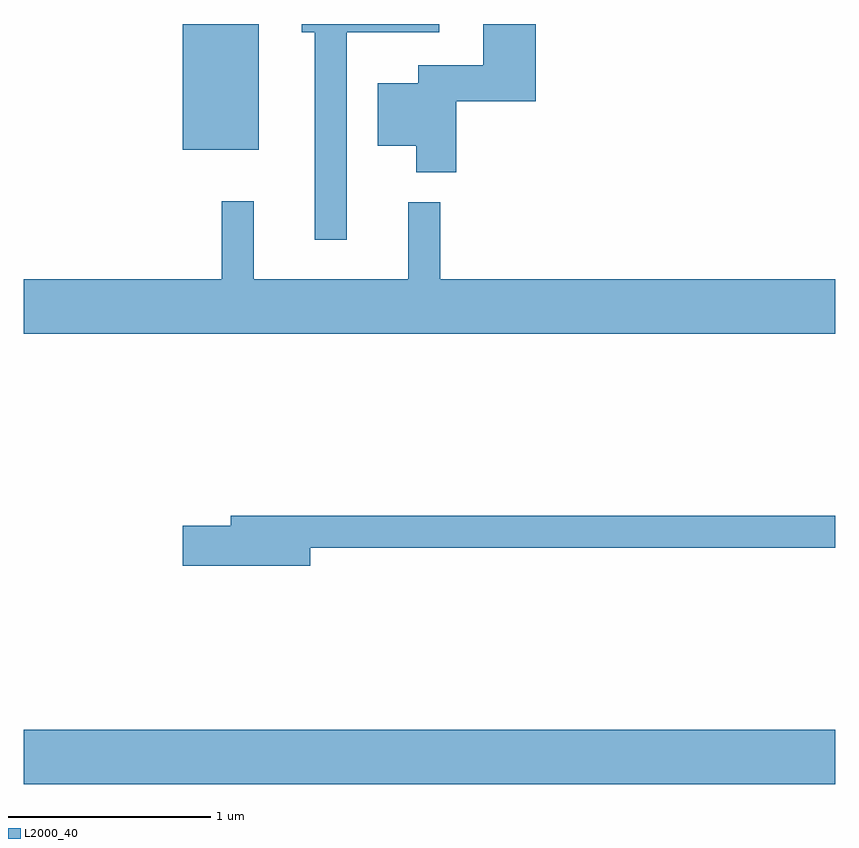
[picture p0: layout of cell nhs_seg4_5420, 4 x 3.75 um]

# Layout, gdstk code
import gdstk
lib = gdstk.Library(unit=1e-6, precision=1e-09)
def R(c, l, rs):  # rectangles x0, y0, x1, y1
    for r in rs: c.add(gdstk.rectangle(r[:2], r[2:], *l))
def P(c, l, *ps):  # polygons
    for p in ps: c.add(gdstk.Polygon(p, *l))
L2000_40 = (2000, 40)

nhs_seg4_5420 = lib.new_cell('nhs_seg4_5420')
R(nhs_seg4_5420, L2000_40, [(343.611,1350.236,347.611,1350.504), (344.396,1353.361,344.769,1353.982)])
P(nhs_seg4_5420, L2000_40, [(345.204,1353.941),(345.659,1353.941),(345.659,1353.982),(344.981,1353.982),(344.981,1353.941),(345.046,1353.941),(345.046,1352.918),(345.204,1352.918)],
  [(345.744,1353.601),(346.134,1353.601),(346.134,1353.982),(345.876,1353.982),(345.876,1353.779),(345.556,1353.779),(345.556,1353.689),(345.356,1353.689),(345.356,1353.381),(345.546,1353.381),(345.546,1353.251),(345.744,1353.251)],
  [(347.611,1352.724),(345.664,1352.724),(345.664,1353.103),(345.506,1353.103),(345.506,1352.724),(344.744,1352.724),(344.744,1353.108),(344.586,1353.108),(344.586,1352.724),(343.611,1352.724),(343.611,1352.456),(347.611,1352.456)],
  [(345.024,1351.401),(347.611,1351.401),(347.611,1351.559),(344.631,1351.559),(344.631,1351.509),(344.396,1351.509),(344.396,1351.311),(345.024,1351.311)])

lib.write_gds('nhs_seg4_5420.gds')
